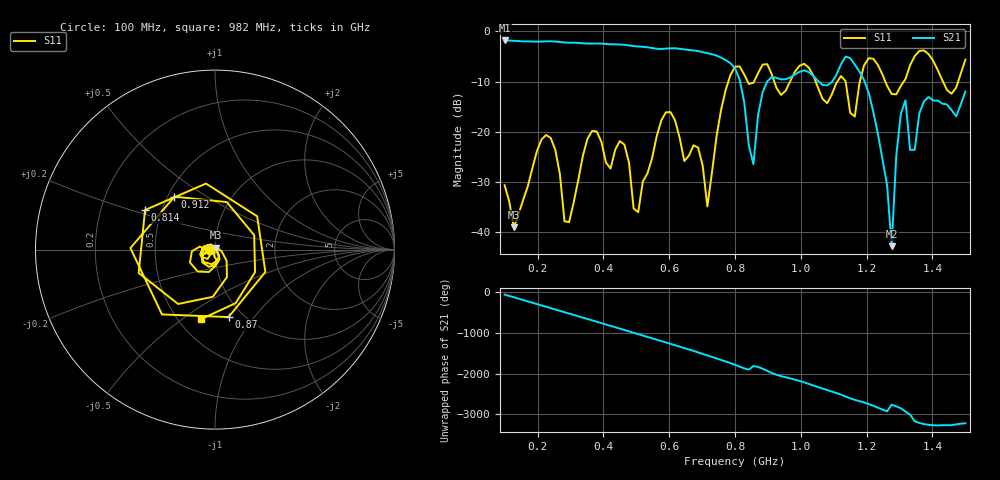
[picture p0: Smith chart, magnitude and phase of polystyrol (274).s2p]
! NanoVNA-App
! Date: 2025-09-25 15:32:01
! Start: 100MHz Stop: 1,5GHz Points: 101
! S-Parameter data: F S11 S21 S12 S22
# Hz S RI R 50
!  Frequency  S11_Real  S11_Imag  S21_Real  S21_Imag  S12_Real  S12_Imag  S22_Real  S22_Imag
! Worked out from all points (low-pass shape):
!   101 points, 100 MHz to 1.5 GHz, reference 50 ohm
!   highest |S21| = -1.80 dB at 100 MHz (marker M1); lowest = -42.9 dB at 1.276 GHz (marker M2)
!   |S21| within 3 dB of the highest: start of sweep to 743.2 MHz
!   lowest |S11| = -39.1 dB at 128 MHz (marker M3), VSWR 1.02, Z = 50.3 + j1.06 ohm
!   |S11| at or under -10 dB: start of sweep to 779.8 MHz; 1.045 GHz to 1.111 GHz (66.02 MHz wide, 6.12 % of centre); 1.257 GHz to 1.313 GHz (56.23 MHz wide, 4.38 % of centre)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
!   S12 and S22 are empty: the file has one direction only
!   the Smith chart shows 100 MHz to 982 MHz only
!   S11 on the Smith chart (normalised r, x): 100 MHz: 0.94, -0.01; 814 MHz: 0.40, +0.22; 870 MHz: 0.86, -0.75; 912 MHz: 0.54, +0.37; 982 MHz: 0.64, -0.59
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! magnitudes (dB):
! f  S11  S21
! 100 MHz  -30.7  -1.8
! 128 MHz  -39.1  -1.9
! 212 MHz  -21.6  -2.0
! 282 MHz  -37.9  -2.2
! 338 MHz  -24.8  -2.4
! 464 MHz  -22.6  -2.7
! 506 MHz  -36.1  -3.0
! 576 MHz  -17.8  -3.5
! 716 MHz  -34.9  -4.3
! 800 MHz  -7.0  -7.4
! 814 MHz  -7.0  -9.6
! 856 MHz  -10.3  -26.5
! 870 MHz  -8.3  -16.7
! 912 MHz  -8.6  -9.1
! 982 MHz  -8.0  -8.6
! 1.038 GHz  -8.8  -8.9
! 1.164 GHz  -17.0  -6.6
! 1.192 GHz  -6.8  -9.7
! 1.276 GHz  -12.5  -42.9
! 1.318 GHz  -9.5  -13.7
! 1.346 GHz  -4.9  -23.6
! 1.5 GHz  -5.6  -12.0
